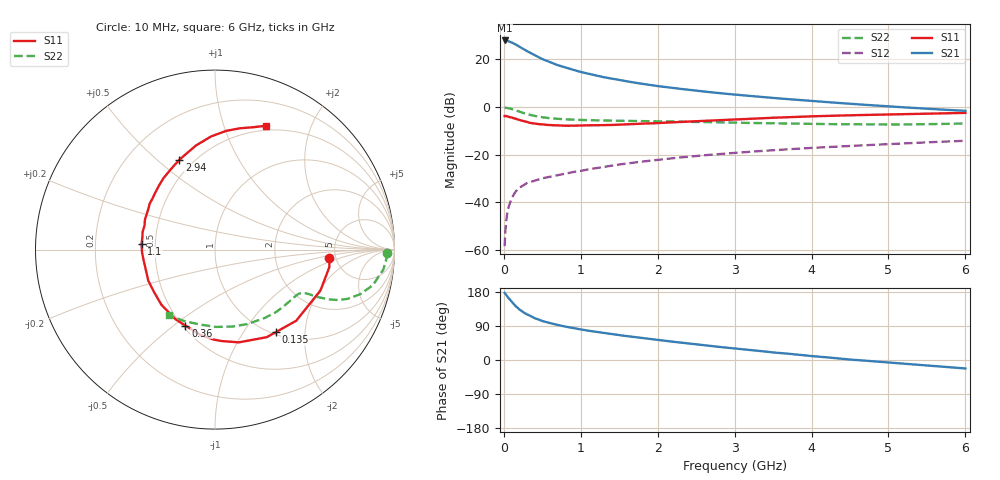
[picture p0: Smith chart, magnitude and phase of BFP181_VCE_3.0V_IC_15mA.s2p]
! Infineon Technologies  Discrete & RF Semiconductors
! BFP181
! VCE = 3.0 V,  IC =  15 mA
! Common Emitter S-Parameters:  Jan 2016
# GHz  S  MA  R  50
!  f  S11  S21  S12  S22
! GHz  MAG  ANG  MAG  ANG  MAG  ANG  MAG  ANG
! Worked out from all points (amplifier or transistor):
!   210 points, 10 MHz to 6 GHz, reference 50 ohm
!   highest |S21| = 27.8 dB at 10 MHz (marker M1)
!   |S21| within 3 dB of that: start of sweep to 224.2 MHz
!   unconditionally stable (mu >= 1): 717.2 MHz to end of sweep
!   at 185 MHz: K = 0.39, MSG = 30.0 dB, |S12| = -34.5 dB
!   at 1.52 GHz: K = 1.25, MAG = 14.6 dB, |S12| = -24.1 dB
!   at 6 GHz: K = 1.02, MAG = 5.5 dB, |S12| = -14.2 dB
!   S11 on the Smith chart (normalised r, x): 10 MHz: 4.42, -0.72; 135 MHz: 1.04, -1.42; 360 MHz: 0.52, -0.55; 1.1 GHz: 0.42, +0.03; 2.94 GHz: 0.42, +0.59; 6 GHz: 0.45, +1.39
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0.01  0.639 -4.3  24.55 177.1  0.0012 94.4  0.9583 -1.1
0.055  0.6241 -23.1  23.84 165.1  0.0072 81.4  0.9396 -7.4
0.1  0.6016 -41.2  22.35 153.9  0.0117 70.8  0.9017 -12.7
0.135  0.571 -53.7  20.9 146.3  0.015 66.2  0.8621 -15.7
0.15  0.5668 -59.4  20.4 142.8  0.0164 64.8  0.8459 -17.1
0.2  0.5336 -75.6  18.41 133.7  0.02 60.1  0.79 -20.3
0.26  0.5009 -91.0  16.02 125.2  0.0229 56.6  0.7331 -22.5
0.3  0.4821 -99.9  14.73 120.5  0.0252 54.9  0.7018 -23.4
0.36  0.454 -111.3  13.05 114.9  0.0271 53.1  0.6661 -24.1
0.4  0.4462 -119.5  12.02 110.3  0.0284 52.0  0.6423 -24.6
0.5  0.4285 -134.2  9.997 102.9  0.0316 51.1  0.602 -25.1
0.6  0.4137 -145.4  8.626 97.3  0.0343 51.4  0.5758 -25.4
0.8  0.4011 -163.8  6.643 88.0  0.0399 52.4  0.5464 -26.2
1.02  0.4072 -179.4  5.275 80.0  0.0461 53.6  0.5284 -27.8
1.1  0.41 175.8  4.919 77.2  0.0489 53.5  0.5238 -28.4
1.5  0.4241 157.1  3.639 65.6  0.0618 53.4  0.5094 -32.9
2.02  0.4579 137.1  2.691 52.5  0.0781 51.8  0.4956 -40.1
2.94  0.5365 111.8  1.843 31.6  0.1063 46.3  0.4672 -55.7
3.1  0.5507 108.3  1.747 28.5  0.1111 45.2  0.4613 -58.7
4.1  0.6367 90.5  1.291 8.8  0.1402 37.6  0.4361 -79.9
5.1  0.6943 77.2  0.996 -8.2  0.1675 30.0  0.4258 -103.6
6  0.7449 67.8  0.822 -22.3  0.1941 22.6  0.4476 -125.2
